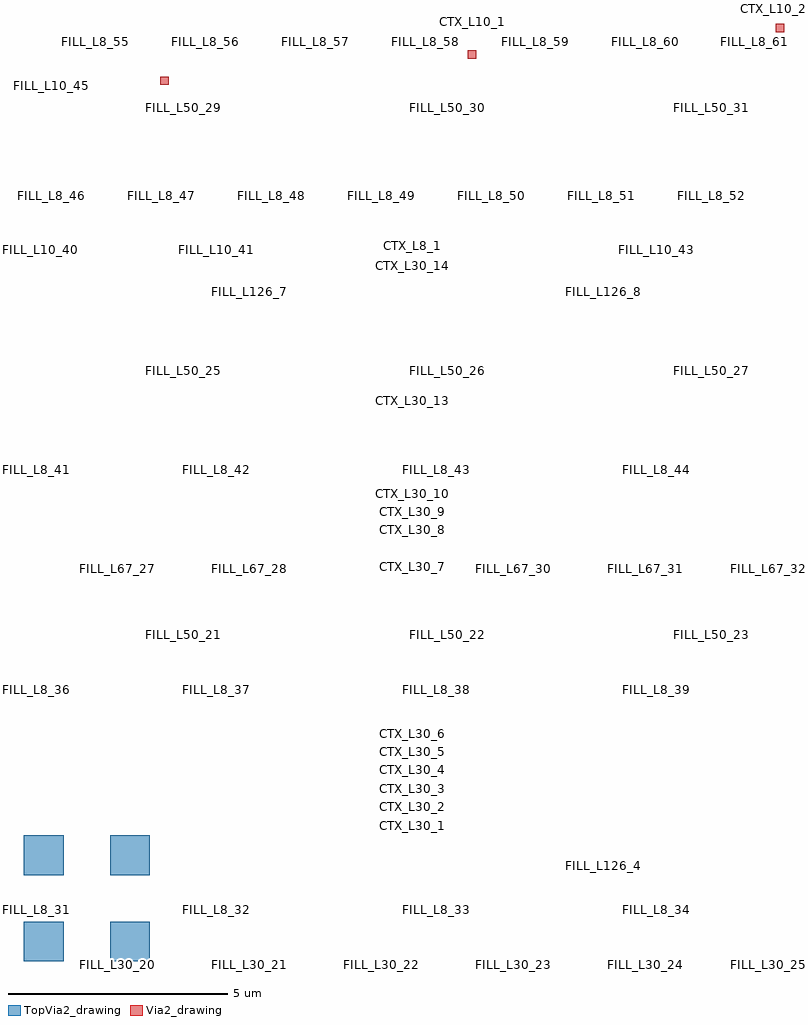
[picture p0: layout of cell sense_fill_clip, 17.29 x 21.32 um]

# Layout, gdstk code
import gdstk
lib = gdstk.Library(unit=1e-6, precision=1e-09)
def R(c, l, rs):  # rectangles x0, y0, x1, y1
    for r in rs: c.add(gdstk.rectangle(r[:2], r[2:], *l))
Via2_drawing = (29, 0)
TopVia2_drawing = (133, 0)

sense_fill_clip = lib.new_cell('sense_fill_clip')
R(sense_fill_clip, Via2_drawing, [(805.47,740.505,805.66,740.695), (812.47,741.105,812.66,741.295), (819.47,741.705,819.66,741.895)])
R(sense_fill_clip, TopVia2_drawing, [(802.37,720.57,803.27,721.47), (804.33,720.57,805.23,721.47), (802.37,722.53,803.27,723.43), (804.33,722.53,805.23,723.43)])
sense_fill_clip.add(gdstk.Label('FILL_L8_62', (821.1,741.5), layer=8, texttype=25))
sense_fill_clip.add(gdstk.Label('FILL_L8_60', (816.5,741.5), layer=8, texttype=25))
sense_fill_clip.add(gdstk.Label('FILL_L8_57', (809,741.5), layer=8, texttype=25))
sense_fill_clip.add(gdstk.Label('FILL_L8_55', (804,741.5), layer=8, texttype=25))
sense_fill_clip.add(gdstk.Label('FILL_L8_25', (808,718), layer=8, texttype=25))
sense_fill_clip.add(gdstk.Label('FILL_L8_27', (813,718), layer=8, texttype=25))
sense_fill_clip.add(gdstk.Label('FILL_L8_50', (813,738), layer=8, texttype=25))
sense_fill_clip.add(gdstk.Label('FILL_L8_58', (811.5,741.5), layer=8, texttype=25))
sense_fill_clip.add(gdstk.Label('FILL_L8_24', (805.5,718), layer=8, texttype=25))
sense_fill_clip.add(gdstk.Label('FILL_L8_19', (813,710.5), layer=8, texttype=25))
sense_fill_clip.add(gdstk.Label('FILL_L8_18', (810.5,710.5), layer=8, texttype=25))
sense_fill_clip.add(gdstk.Label('FILL_L8_14', (820.6,706.75), layer=8, texttype=25))
sense_fill_clip.add(gdstk.Label('FILL_L8_16', (805.5,710.5), layer=8, texttype=25))
sense_fill_clip.add(gdstk.Label('FILL_L8_48', (808,738), layer=8, texttype=25))
sense_fill_clip.add(gdstk.Label('CTX_L8_0', (811.2,715.15), layer=8, texttype=25))
sense_fill_clip.add(gdstk.Label('FILL_L8_20', (815.5,710.5), layer=8, texttype=25))
sense_fill_clip.add(gdstk.Label('FILL_L8_15', (803,710.5), layer=8, texttype=25))
sense_fill_clip.add(gdstk.Label('FILL_L8_53', (820.5,738), layer=8, texttype=25))
sense_fill_clip.add(gdstk.Label('FILL_L8_36', (802.35,726.75), layer=8, texttype=25))
sense_fill_clip.add(gdstk.Label('FILL_L8_0', (802.35,696.75), layer=8, texttype=25))
sense_fill_clip.add(gdstk.Label('FILL_L8_59', (814,741.5), layer=8, texttype=25))
sense_fill_clip.add(gdstk.Label('FILL_L8_11', (806.75,706.75), layer=8, texttype=25))
sense_fill_clip.add(gdstk.Label('FILL_L8_23', (803,718), layer=8, texttype=25))
sense_fill_clip.add(gdstk.Label('FILL_L8_1', (806.75,696.75), layer=8, texttype=25))
sense_fill_clip.add(gdstk.Label('FILL_L8_21', (818,710.5), layer=8, texttype=25))
sense_fill_clip.add(gdstk.Label('FILL_L8_61', (819,741.5), layer=8, texttype=25))
sense_fill_clip.add(gdstk.Label('FILL_L8_44', (816.75,731.75), layer=8, texttype=25))
sense_fill_clip.add(gdstk.Label('FILL_L8_13', (816.75,706.75), layer=8, texttype=25))
sense_fill_clip.add(gdstk.Label('FILL_L8_5', (802.35,701.75), layer=8, texttype=25))
sense_fill_clip.add(gdstk.Label('FILL_L8_6', (806.75,701.75), layer=8, texttype=25))
sense_fill_clip.add(gdstk.Label('FILL_L8_7', (811.75,701.75), layer=8, texttype=25))
sense_fill_clip.add(gdstk.Label('FILL_L8_8', (816.75,701.75), layer=8, texttype=25))
sense_fill_clip.add(gdstk.Label('FILL_L8_26', (810.5,718), layer=8, texttype=25))
sense_fill_clip.add(gdstk.Label('FILL_L8_4', (820.6,696.75), layer=8, texttype=25))
sense_fill_clip.add(gdstk.Label('FILL_L8_3', (816.75,696.75), layer=8, texttype=25))
sense_fill_clip.add(gdstk.Label('FILL_L8_10', (802.35,706.75), layer=8, texttype=25))
sense_fill_clip.add(gdstk.Label('FILL_L8_9', (820.6,701.75), layer=8, texttype=25))
sense_fill_clip.add(gdstk.Label('FILL_L8_28', (815.5,718), layer=8, texttype=25))
sense_fill_clip.add(gdstk.Label('FILL_L8_29', (818,718), layer=8, texttype=25))
sense_fill_clip.add(gdstk.Label('FILL_L8_38', (811.75,726.75), layer=8, texttype=25))
sense_fill_clip.add(gdstk.Label('FILL_L8_22', (820.5,710.5), layer=8, texttype=25))
sense_fill_clip.add(gdstk.Label('FILL_L8_56', (806.5,741.5), layer=8, texttype=25))
sense_fill_clip.add(gdstk.Label('FILL_L8_41', (802.35,731.75), layer=8, texttype=25))
sense_fill_clip.add(gdstk.Label('FILL_L8_30', (820.5,718), layer=8, texttype=25))
sense_fill_clip.add(gdstk.Label('FILL_L8_31', (802.35,721.75), layer=8, texttype=25))
sense_fill_clip.add(gdstk.Label('FILL_L8_32', (806.75,721.75), layer=8, texttype=25))
sense_fill_clip.add(gdstk.Label('FILL_L8_33', (811.75,721.75), layer=8, texttype=25))
sense_fill_clip.add(gdstk.Label('FILL_L8_54', (801.6,741.5), layer=8, texttype=25))
sense_fill_clip.add(gdstk.Label('FILL_L8_34', (816.75,721.75), layer=8, texttype=25))
sense_fill_clip.add(gdstk.Label('FILL_L8_35', (820.6,721.75), layer=8, texttype=25))
sense_fill_clip.add(gdstk.Label('FILL_L8_47', (805.5,738), layer=8, texttype=25))
sense_fill_clip.add(gdstk.Label('FILL_L8_49', (810.5,738), layer=8, texttype=25))
sense_fill_clip.add(gdstk.Label('FILL_L8_39', (816.75,726.75), layer=8, texttype=25))
sense_fill_clip.add(gdstk.Label('FILL_L8_37', (806.75,726.75), layer=8, texttype=25))
sense_fill_clip.add(gdstk.Label('FILL_L8_40', (820.6,726.75), layer=8, texttype=25))
sense_fill_clip.add(gdstk.Label('FILL_L8_42', (806.75,731.75), layer=8, texttype=25))
sense_fill_clip.add(gdstk.Label('FILL_L8_43', (811.75,731.75), layer=8, texttype=25))
sense_fill_clip.add(gdstk.Label('FILL_L8_45', (820.6,731.75), layer=8, texttype=25))
sense_fill_clip.add(gdstk.Label('FILL_L8_12', (811.75,706.75), layer=8, texttype=25))
sense_fill_clip.add(gdstk.Label('FILL_L8_46', (803,738), layer=8, texttype=25))
sense_fill_clip.add(gdstk.Label('FILL_L8_2', (811.75,696.75), layer=8, texttype=25))
sense_fill_clip.add(gdstk.Label('FILL_L8_51', (815.5,738), layer=8, texttype=25))
sense_fill_clip.add(gdstk.Label('CTX_L8_1', (811.2,736.85), layer=8, texttype=25))
sense_fill_clip.add(gdstk.Label('FILL_L8_17', (808,710.5), layer=8, texttype=25))
sense_fill_clip.add(gdstk.Label('FILL_L8_52', (818,738), layer=8, texttype=25))
sense_fill_clip.add(gdstk.Label('FILL_L10_50', (821.1,741.5), layer=10, texttype=25))
sense_fill_clip.add(gdstk.Label('FILL_L10_48', (814,741.5), layer=10, texttype=25))
sense_fill_clip.add(gdstk.Label('FILL_L10_47', (809,741.5), layer=10, texttype=25))
sense_fill_clip.add(gdstk.Label('CTX_L10_0', (805.565,741.64), layer=10, texttype=25))
sense_fill_clip.add(gdstk.Label('FILL_L10_44', (820.6,736.75), layer=10, texttype=25))
sense_fill_clip.add(gdstk.Label('FILL_L10_43', (816.75,736.75), layer=10, texttype=25))
sense_fill_clip.add(gdstk.Label('FILL_L10_41', (806.75,736.75), layer=10, texttype=25))
sense_fill_clip.add(gdstk.Label('FILL_L10_37', (811.75,731.75), layer=10, texttype=25))
sense_fill_clip.add(gdstk.Label('FILL_L10_32', (811.75,726.75), layer=10, texttype=25))
sense_fill_clip.add(gdstk.Label('FILL_L10_35', (802.35,731.75), layer=10, texttype=25))
sense_fill_clip.add(gdstk.Label('FILL_L10_30', (802.35,726.75), layer=10, texttype=25))
sense_fill_clip.add(gdstk.Label('FILL_L10_45', (803,740.5), layer=10, texttype=25))
sense_fill_clip.add(gdstk.Label('FILL_L10_29', (820.6,721.75), layer=10, texttype=25))
sense_fill_clip.add(gdstk.Label('FILL_L10_11', (806.75,706.75), layer=10, texttype=25))
sense_fill_clip.add(gdstk.Label('FILL_L10_14', (820.6,706.75), layer=10, texttype=25))
sense_fill_clip.add(gdstk.Label('FILL_L10_23', (816.75,716.75), layer=10, texttype=25))
sense_fill_clip.add(gdstk.Label('FILL_L10_9', (820.6,701.75), layer=10, texttype=25))
sense_fill_clip.add(gdstk.Label('FILL_L10_49', (816.5,741.5), layer=10, texttype=25))
sense_fill_clip.add(gdstk.Label('FILL_L10_8', (816.75,701.75), layer=10, texttype=25))
sense_fill_clip.add(gdstk.Label('FILL_L10_12', (811.75,706.75), layer=10, texttype=25))
sense_fill_clip.add(gdstk.Label('FILL_L10_28', (816.75,721.75), layer=10, texttype=25))
sense_fill_clip.add(gdstk.Label('CTX_L10_2', (819.565,742.24), layer=10, texttype=25))
sense_fill_clip.add(gdstk.Label('FILL_L10_7', (811.75,701.75), layer=10, texttype=25))
sense_fill_clip.add(gdstk.Label('FILL_L10_27', (811.75,721.75), layer=10, texttype=25))
sense_fill_clip.add(gdstk.Label('FILL_L10_19', (820.6,711.75), layer=10, texttype=25))
sense_fill_clip.add(gdstk.Label('FILL_L10_10', (802.35,706.75), layer=10, texttype=25))
sense_fill_clip.add(gdstk.Label('FILL_L10_4', (820.6,696.75), layer=10, texttype=25))
sense_fill_clip.add(gdstk.Label('FILL_L10_34', (820.6,726.75), layer=10, texttype=25))
sense_fill_clip.add(gdstk.Label('FILL_L10_15', (802.35,711.75), layer=10, texttype=25))
sense_fill_clip.add(gdstk.Label('CTX_L10_1', (812.565,741.94), layer=10, texttype=25))
sense_fill_clip.add(gdstk.Label('FILL_L10_31', (806.75,726.75), layer=10, texttype=25))
sense_fill_clip.add(gdstk.Label('FILL_L10_18', (816.75,711.75), layer=10, texttype=25))
sense_fill_clip.add(gdstk.Label('FILL_L10_46', (801.6,741.5), layer=10, texttype=25))
sense_fill_clip.add(gdstk.Label('FILL_L10_3', (816.75,696.75), layer=10, texttype=25))
sense_fill_clip.add(gdstk.Label('FILL_L10_39', (820.6,731.75), layer=10, texttype=25))
sense_fill_clip.add(gdstk.Label('FILL_L10_20', (802.35,716.75), layer=10, texttype=25))
sense_fill_clip.add(gdstk.Label('FILL_L10_2', (811.75,696.75), layer=10, texttype=25))
sense_fill_clip.add(gdstk.Label('FILL_L10_21', (806.75,716.75), layer=10, texttype=25))
sense_fill_clip.add(gdstk.Label('FILL_L10_6', (806.75,701.75), layer=10, texttype=25))
sense_fill_clip.add(gdstk.Label('FILL_L10_1', (806.75,696.75), layer=10, texttype=25))
sense_fill_clip.add(gdstk.Label('FILL_L10_0', (802.35,696.75), layer=10, texttype=25))
sense_fill_clip.add(gdstk.Label('FILL_L10_33', (816.75,726.75), layer=10, texttype=25))
sense_fill_clip.add(gdstk.Label('FILL_L10_13', (816.75,706.75), layer=10, texttype=25))
sense_fill_clip.add(gdstk.Label('FILL_L10_24', (820.6,716.75), layer=10, texttype=25))
sense_fill_clip.add(gdstk.Label('FILL_L10_17', (811.75,711.75), layer=10, texttype=25))
sense_fill_clip.add(gdstk.Label('FILL_L10_22', (811.75,716.75), layer=10, texttype=25))
sense_fill_clip.add(gdstk.Label('FILL_L10_42', (811.75,736.75), layer=10, texttype=25))
sense_fill_clip.add(gdstk.Label('FILL_L10_36', (806.75,731.75), layer=10, texttype=25))
sense_fill_clip.add(gdstk.Label('FILL_L10_5', (802.35,701.75), layer=10, texttype=25))
sense_fill_clip.add(gdstk.Label('FILL_L10_16', (806.75,711.75), layer=10, texttype=25))
sense_fill_clip.add(gdstk.Label('FILL_L10_38', (816.75,731.75), layer=10, texttype=25))
sense_fill_clip.add(gdstk.Label('FILL_L10_25', (802.35,721.75), layer=10, texttype=25))
sense_fill_clip.add(gdstk.Label('FILL_L10_40', (802.35,736.75), layer=10, texttype=25))
sense_fill_clip.add(gdstk.Label('FILL_L10_26', (806.75,721.75), layer=10, texttype=25))
sense_fill_clip.add(gdstk.Label('CTX_L30_18', (811.2,742.4), layer=30, texttype=25))
sense_fill_clip.add(gdstk.Label('CTX_L30_16', (806.957,741.2), layer=30, texttype=25))
sense_fill_clip.add(gdstk.Label('CTX_L30_14', (811.2,736.4), layer=30, texttype=25))
sense_fill_clip.add(gdstk.Label('CTX_L30_8', (811.2,730.38), layer=30, texttype=25))
sense_fill_clip.add(gdstk.Label('CTX_L30_6', (811.2,725.76), layer=30, texttype=25))
sense_fill_clip.add(gdstk.Label('CTX_L30_4', (811.2,724.92), layer=30, texttype=25))
sense_fill_clip.add(gdstk.Label('CTX_L30_1', (811.2,723.66), layer=30, texttype=25))
sense_fill_clip.add(gdstk.Label('FILL_L30_12', (801.6,714.5), layer=30, texttype=25))
sense_fill_clip.add(gdstk.Label('FILL_L30_1', (806,698), layer=30, texttype=25))
sense_fill_clip.add(gdstk.Label('CTX_L30_7', (811.2,729.54), layer=30, texttype=25))
sense_fill_clip.add(gdstk.Label('FILL_L30_16', (813.5,714.5), layer=30, texttype=25))
sense_fill_clip.add(gdstk.Label('CTX_L30_11', (811.2,731.64), layer=30, texttype=25))
sense_fill_clip.add(gdstk.Label('CTX_L30_10', (811.2,731.22), layer=30, texttype=25))
sense_fill_clip.add(gdstk.Label('FILL_L30_11', (818,710), layer=30, texttype=25))
sense_fill_clip.add(gdstk.Label('CTX_L30_15', (803.457,740.6), layer=30, texttype=25))
sense_fill_clip.add(gdstk.Label('FILL_L30_7', (818,704), layer=30, texttype=25))
sense_fill_clip.add(gdstk.Label('FILL_L30_10', (812,710), layer=30, texttype=25))
sense_fill_clip.add(gdstk.Label('FILL_L30_4', (801.6,704), layer=30, texttype=25))
sense_fill_clip.add(gdstk.Label('FILL_L30_18', (819.5,714.5), layer=30, texttype=25))
sense_fill_clip.add(gdstk.Label('FILL_L30_6', (812,704), layer=30, texttype=25))
sense_fill_clip.add(gdstk.Label('FILL_L30_3', (818,698), layer=30, texttype=25))
sense_fill_clip.add(gdstk.Label('FILL_L30_5', (806,704), layer=30, texttype=25))
sense_fill_clip.add(gdstk.Label('CTX_L30_17', (810.457,741.8), layer=30, texttype=25))
sense_fill_clip.add(gdstk.Label('FILL_L30_9', (806,710), layer=30, texttype=25))
sense_fill_clip.add(gdstk.Label('FILL_L30_8', (801.6,710), layer=30, texttype=25))
sense_fill_clip.add(gdstk.Label('FILL_L30_22', (810.5,720.5), layer=30, texttype=25))
sense_fill_clip.add(gdstk.Label('FILL_L30_2', (812,698), layer=30, texttype=25))
sense_fill_clip.add(gdstk.Label('FILL_L30_17', (816.5,714.5), layer=30, texttype=25))
sense_fill_clip.add(gdstk.Label('CTX_L30_12', (811.2,732.06), layer=30, texttype=25))
sense_fill_clip.add(gdstk.Label('FILL_L30_0', (801.6,698), layer=30, texttype=25))
sense_fill_clip.add(gdstk.Label('FILL_L30_20', (804.5,720.5), layer=30, texttype=25))
sense_fill_clip.add(gdstk.Label('FILL_L30_13', (804.5,714.5), layer=30, texttype=25))
sense_fill_clip.add(gdstk.Label('FILL_L30_23', (813.5,720.5), layer=30, texttype=25))
sense_fill_clip.add(gdstk.Label('CTX_L30_5', (811.2,725.34), layer=30, texttype=25))
sense_fill_clip.add(gdstk.Label('FILL_L30_14', (807.5,714.5), layer=30, texttype=25))
sense_fill_clip.add(gdstk.Label('CTX_L30_13', (811.2,733.32), layer=30, texttype=25))
sense_fill_clip.add(gdstk.Label('FILL_L30_19', (801.6,720.5), layer=30, texttype=25))
sense_fill_clip.add(gdstk.Label('FILL_L30_15', (810.5,714.5), layer=30, texttype=25))
sense_fill_clip.add(gdstk.Label('FILL_L30_21', (807.5,720.5), layer=30, texttype=25))
sense_fill_clip.add(gdstk.Label('CTX_L30_9', (811.2,730.8), layer=30, texttype=25))
sense_fill_clip.add(gdstk.Label('FILL_L30_24', (816.5,720.5), layer=30, texttype=25))
sense_fill_clip.add(gdstk.Label('FILL_L30_25', (819.5,720.5), layer=30, texttype=25))
sense_fill_clip.add(gdstk.Label('CTX_L30_0', (811.2,718.2), layer=30, texttype=25))
sense_fill_clip.add(gdstk.Label('CTX_L30_3', (811.2,724.5), layer=30, texttype=25))
sense_fill_clip.add(gdstk.Label('CTX_L30_2', (811.2,724.08), layer=30, texttype=25))
sense_fill_clip.add(gdstk.Label('FILL_L50_31', (818,740), layer=50, texttype=25))
sense_fill_clip.add(gdstk.Label('FILL_L50_30', (812,740), layer=50, texttype=25))
sense_fill_clip.add(gdstk.Label('FILL_L50_29', (806,740), layer=50, texttype=25))
sense_fill_clip.add(gdstk.Label('FILL_L50_11', (818,710), layer=50, texttype=25))
sense_fill_clip.add(gdstk.Label('FILL_L50_12', (801.6,716), layer=50, texttype=25))
sense_fill_clip.add(gdstk.Label('FILL_L50_10', (812,710), layer=50, texttype=25))
sense_fill_clip.add(gdstk.Label('FILL_L50_6', (812,704), layer=50, texttype=25))
sense_fill_clip.add(gdstk.Label('FILL_L50_7', (818,704), layer=50, texttype=25))
sense_fill_clip.add(gdstk.Label('FILL_L50_20', (801.6,728), layer=50, texttype=25))
sense_fill_clip.add(gdstk.Label('FILL_L50_21', (806,728), layer=50, texttype=25))
sense_fill_clip.add(gdstk.Label('FILL_L50_4', (801.6,704), layer=50, texttype=25))
sense_fill_clip.add(gdstk.Label('FILL_L50_8', (801.6,710), layer=50, texttype=25))
sense_fill_clip.add(gdstk.Label('FILL_L50_1', (806,698), layer=50, texttype=25))
sense_fill_clip.add(gdstk.Label('FILL_L50_0', (801.6,698), layer=50, texttype=25))
sense_fill_clip.add(gdstk.Label('FILL_L50_13', (806,716), layer=50, texttype=25))
sense_fill_clip.add(gdstk.Label('FILL_L50_5', (806,704), layer=50, texttype=25))
sense_fill_clip.add(gdstk.Label('FILL_L50_22', (812,728), layer=50, texttype=25))
sense_fill_clip.add(gdstk.Label('FILL_L50_15', (818,716), layer=50, texttype=25))
sense_fill_clip.add(gdstk.Label('FILL_L50_25', (806,734), layer=50, texttype=25))
sense_fill_clip.add(gdstk.Label('FILL_L50_3', (818,698), layer=50, texttype=25))
sense_fill_clip.add(gdstk.Label('FILL_L50_18', (812,722), layer=50, texttype=25))
sense_fill_clip.add(gdstk.Label('FILL_L50_2', (812,698), layer=50, texttype=25))
sense_fill_clip.add(gdstk.Label('FILL_L50_14', (812,716), layer=50, texttype=25))
sense_fill_clip.add(gdstk.Label('FILL_L50_19', (818,722), layer=50, texttype=25))
sense_fill_clip.add(gdstk.Label('FILL_L50_9', (806,710), layer=50, texttype=25))
sense_fill_clip.add(gdstk.Label('FILL_L50_16', (801.6,722), layer=50, texttype=25))
sense_fill_clip.add(gdstk.Label('FILL_L50_24', (801.6,734), layer=50, texttype=25))
sense_fill_clip.add(gdstk.Label('FILL_L50_23', (818,728), layer=50, texttype=25))
sense_fill_clip.add(gdstk.Label('FILL_L50_26', (812,734), layer=50, texttype=25))
sense_fill_clip.add(gdstk.Label('FILL_L50_27', (818,734), layer=50, texttype=25))
sense_fill_clip.add(gdstk.Label('FILL_L50_17', (806,722), layer=50, texttype=25))
sense_fill_clip.add(gdstk.Label('FILL_L50_28', (801.6,740), layer=50, texttype=25))
sense_fill_clip.add(gdstk.Label('FILL_L67_38', (806,740), layer=67, texttype=25))
sense_fill_clip.add(gdstk.Label('FILL_L67_37', (801.6,740), layer=67, texttype=25))
sense_fill_clip.add(gdstk.Label('FILL_L67_35', (812,734), layer=67, texttype=25))
sense_fill_clip.add(gdstk.Label('FILL_L67_34', (806,734), layer=67, texttype=25))
sense_fill_clip.add(gdstk.Label('FILL_L67_33', (801.6,734), layer=67, texttype=25))
sense_fill_clip.add(gdstk.Label('FILL_L67_29', (810.5,729.5), layer=67, texttype=25))
sense_fill_clip.add(gdstk.Label('FILL_L67_28', (807.5,729.5), layer=67, texttype=25))
sense_fill_clip.add(gdstk.Label('FILL_L67_26', (801.6,729.5), layer=67, texttype=25))
sense_fill_clip.add(gdstk.Label('CTX_L67_6', (811.2,725.76), layer=67, texttype=25))
sense_fill_clip.add(gdstk.Label('CTX_L67_7', (811.2,726.6), layer=67, texttype=25))
sense_fill_clip.add(gdstk.Label('CTX_L67_4', (811.2,724.5), layer=67, texttype=25))
sense_fill_clip.add(gdstk.Label('CTX_L67_3', (811.2,724.08), layer=67, texttype=25))
sense_fill_clip.add(gdstk.Label('FILL_L67_10', (812,710), layer=67, texttype=25))
sense_fill_clip.add(gdstk.Label('FILL_L67_8', (801.6,710), layer=67, texttype=25))
sense_fill_clip.add(gdstk.Label('FILL_L67_27', (804.5,729.5), layer=67, texttype=25))
sense_fill_clip.add(gdstk.Label('P', (811.2,719.04), layer=67, texttype=25))
sense_fill_clip.add(gdstk.Label('FILL_L67_12', (801.6,714.5), layer=67, texttype=25))
sense_fill_clip.add(gdstk.Label('FILL_L67_6', (812,704), layer=67, texttype=25))
sense_fill_clip.add(gdstk.Label('FILL_L67_36', (818,734), layer=67, texttype=25))
sense_fill_clip.add(gdstk.Label('CTX_L67_5', (811.2,724.92), layer=67, texttype=25))
sense_fill_clip.add(gdstk.Label('CTX_L67_2', (811.2,723.66), layer=67, texttype=25))
sense_fill_clip.add(gdstk.Label('FILL_L67_40', (818,740), layer=67, texttype=25))
sense_fill_clip.add(gdstk.Label('FILL_L67_9', (806,710), layer=67, texttype=25))
sense_fill_clip.add(gdstk.Label('FILL_L67_31', (816.5,729.5), layer=67, texttype=25))
sense_fill_clip.add(gdstk.Label('FILL_L67_1', (806,698), layer=67, texttype=25))
sense_fill_clip.add(gdstk.Label('FILL_L67_4', (801.6,704), layer=67, texttype=25))
sense_fill_clip.add(gdstk.Label('FILL_L67_0', (801.6,698), layer=67, texttype=25))
sense_fill_clip.add(gdstk.Label('FILL_L67_13', (804.5,714.5), layer=67, texttype=25))
sense_fill_clip.add(gdstk.Label('FILL_L67_14', (807.5,714.5), layer=67, texttype=25))
sense_fill_clip.add(gdstk.Label('FILL_L67_16', (813.5,714.5), layer=67, texttype=25))
sense_fill_clip.add(gdstk.Label('FILL_L67_39', (812,740), layer=67, texttype=25))
sense_fill_clip.add(gdstk.Label('FILL_L67_17', (816.5,714.5), layer=67, texttype=25))
sense_fill_clip.add(gdstk.Label('FILL_L67_19', (801.6,720.5), layer=67, texttype=25))
sense_fill_clip.add(gdstk.Label('FILL_L67_18', (819.5,714.5), layer=67, texttype=25))
sense_fill_clip.add(gdstk.Label('FILL_L67_2', (812,698), layer=67, texttype=25))
sense_fill_clip.add(gdstk.Label('FILL_L67_22', (810.5,720.5), layer=67, texttype=25))
sense_fill_clip.add(gdstk.Label('N', (811.2,718.62), layer=67, texttype=25))
sense_fill_clip.add(gdstk.Label('FILL_L67_30', (813.5,729.5), layer=67, texttype=25))
sense_fill_clip.add(gdstk.Label('FILL_L67_11', (818,710), layer=67, texttype=25))
sense_fill_clip.add(gdstk.Label('FILL_L67_7', (818,704), layer=67, texttype=25))
sense_fill_clip.add(gdstk.Label('FILL_L67_20', (804.5,720.5), layer=67, texttype=25))
sense_fill_clip.add(gdstk.Label('FILL_L67_3', (818,698), layer=67, texttype=25))
sense_fill_clip.add(gdstk.Label('FILL_L67_15', (810.5,714.5), layer=67, texttype=25))
sense_fill_clip.add(gdstk.Label('FILL_L67_21', (807.5,720.5), layer=67, texttype=25))
sense_fill_clip.add(gdstk.Label('FILL_L67_23', (813.5,720.5), layer=67, texttype=25))
sense_fill_clip.add(gdstk.Label('FILL_L67_24', (816.5,720.5), layer=67, texttype=25))
sense_fill_clip.add(gdstk.Label('FILL_L67_32', (819.5,729.5), layer=67, texttype=25))
sense_fill_clip.add(gdstk.Label('FILL_L67_5', (806,704), layer=67, texttype=25))
sense_fill_clip.add(gdstk.Label('FILL_L67_25', (819.5,720.5), layer=67, texttype=25))
sense_fill_clip.add(gdstk.Label('FILL_L126_9', (821.15,735.8), layer=126, texttype=25))
sense_fill_clip.add(gdstk.Label('FILL_L126_6', (801.575,735.8), layer=126, texttype=25))
sense_fill_clip.add(gdstk.Label('FILL_L126_5', (821.15,722.75), layer=126, texttype=25))
sense_fill_clip.add(gdstk.Label('FILL_L126_4', (815.55,722.75), layer=126, texttype=25))
sense_fill_clip.add(gdstk.Label('CTX_L126_0', (812.6,709), layer=126, texttype=25))
sense_fill_clip.add(gdstk.Label('FILL_L126_3', (821.15,698.24), layer=126, texttype=25))
sense_fill_clip.add(gdstk.Label('FILL_L126_2', (815.55,698.24), layer=126, texttype=25))
sense_fill_clip.add(gdstk.Label('FILL_L126_8', (815.55,735.8), layer=126, texttype=25))
sense_fill_clip.add(gdstk.Label('FILL_L126_7', (807.5,735.8), layer=126, texttype=25))
sense_fill_clip.add(gdstk.Label('FILL_L126_1', (807.5,698.24), layer=126, texttype=25))
sense_fill_clip.add(gdstk.Label('FILL_L126_0', (801.575,698.24), layer=126, texttype=25))
sense_fill_clip.add(gdstk.Label('CTX_L134_2', (811.2,737), layer=134, texttype=25))
sense_fill_clip.add(gdstk.Label('CTX_L134_1', (813,712.45), layer=134, texttype=25))
sense_fill_clip.add(gdstk.Label('FILL_L134_3', (821.15,698.24), layer=134, texttype=25))
sense_fill_clip.add(gdstk.Label('FILL_L134_2', (815.55,698.24), layer=134, texttype=25))
sense_fill_clip.add(gdstk.Label('CTX_L134_0', (803.54,722), layer=134, texttype=25))
sense_fill_clip.add(gdstk.Label('FILL_L134_1', (807.5,698.24), layer=134, texttype=25))
sense_fill_clip.add(gdstk.Label('FILL_L134_0', (801.575,698.24), layer=134, texttype=25))

lib.write_gds('sense_fill_clip.gds')
